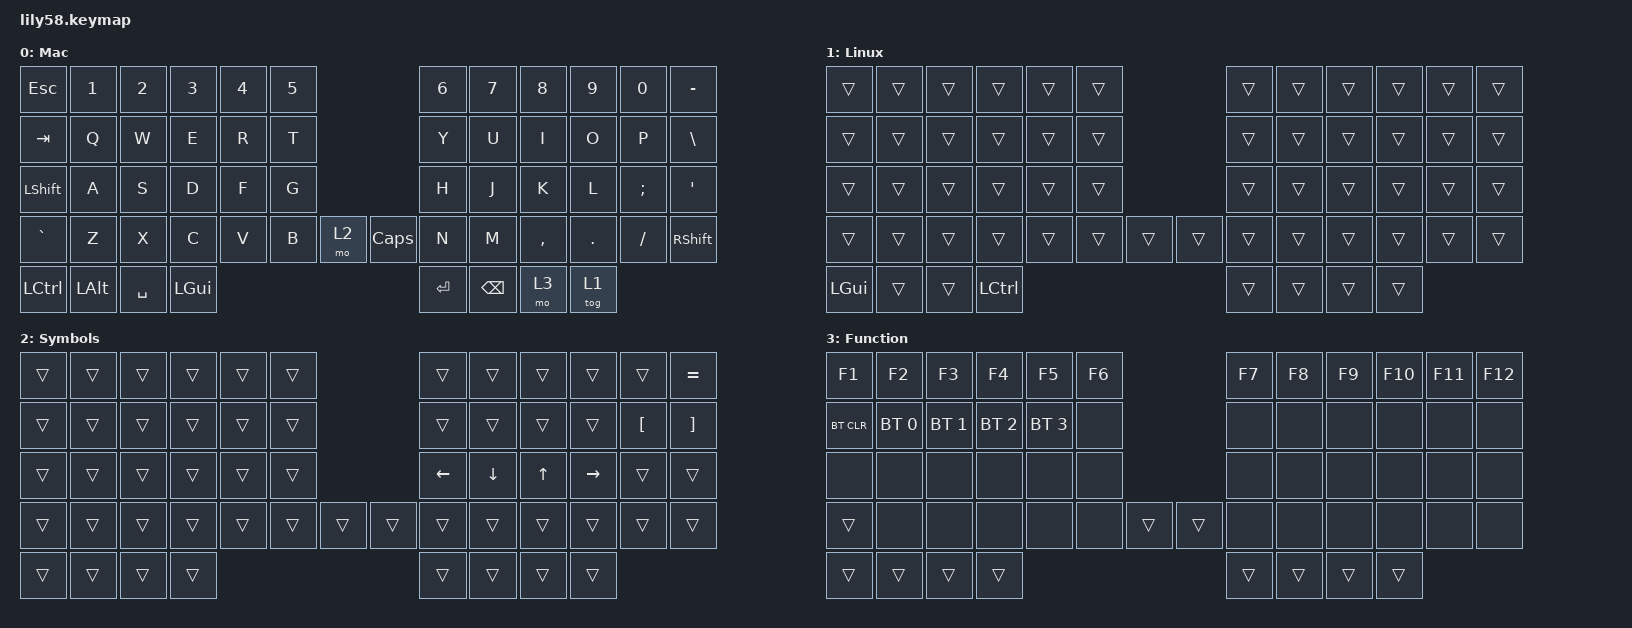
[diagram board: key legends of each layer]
/*
 * Copyright (c) 2020 The ZMK Contributors
 *
 * SPDX-License-Identifier: MIT
 */

#include <behaviors.dtsi>
#include <dt-bindings/zmk/keys.h>
#include <dt-bindings/zmk/bt.h>
#include <dt-bindings/zmk/ext_power.h>

#define BASE            0
#define OS_LINUX        1
#define SYMBOLS         2
#define FUNCTION        3

/ {
    keymap {
        compatible = "zmk,keymap";

        default_layer {
            display-name = "Mac";
            bindings = <
                &kp ESC    &kp N1  &kp N2  &kp N3  &kp N4  &kp N5                          &kp N6  &kp N7  &kp N8     &kp N9   &kp N0    &kp MINUS
                &kp TAB    &kp Q   &kp W   &kp E   &kp R   &kp T                           &kp Y   &kp U   &kp I      &kp O    &kp P     &kp BSLH
                &kp LSHFT  &kp A   &kp S   &kp D   &kp F   &kp G                           &kp H   &kp J   &kp K      &kp L    &kp SEMI  &kp SQT
                &kp GRAVE  &kp Z   &kp X   &kp C   &kp V   &kp B    &mo 2      &kp CAPS    &kp N   &kp M   &kp COMMA  &kp DOT  &kp FSLH  &kp RSHFT

                &kp LCTRL  &kp LALT  &kp SPACE  &kp LGUI                                   &kp RET  &kp BSPC  &mo 3  &tog 1
            >;
        };

        os_linux {
            display-name = "Linux";

            bindings = <
                &trans  &trans  &trans  &trans  &trans  &trans                              &trans  &trans  &trans  &trans  &trans  &trans
                &trans  &trans  &trans  &trans  &trans  &trans                              &trans  &trans  &trans  &trans  &trans  &trans
                &trans  &trans  &trans  &trans  &trans  &trans                              &trans  &trans  &trans  &trans  &trans  &trans
                &trans  &trans  &trans  &trans  &trans  &trans  &trans          &trans      &trans  &trans  &trans  &trans  &trans  &trans

                &kp LGUI  &trans  &trans  &kp LCTRL                                         &trans  &trans  &trans  &trans
            >;
        };

        symbols {
            display-name = "Symbols";

            bindings = <
                &trans  &trans  &trans  &trans  &trans  &trans                              &trans     &trans     &trans   &trans      &trans     &kp EQUAL
                &trans  &trans  &trans  &trans  &trans  &trans                              &trans     &trans     &trans   &trans      &kp LBKT   &kp RBKT
                &trans  &trans  &trans  &trans  &trans  &trans                              &kp LEFT   &kp DOWN   &kp UP   &kp RIGHT   &trans     &trans
                &trans  &trans  &trans  &trans  &trans  &trans  &trans          &trans      &trans     &trans     &trans   &trans      &trans     &trans

                &trans  &trans  &trans  &trans                                              &trans  &trans  &trans  &trans
            >;
        };

        function {
            display-name = "Function";

            bindings = <
                &kp F1      &kp F2        &kp F3        &kp F4        &kp F5                              &kp F6  &kp F7  &kp F8  &kp F9  &kp F10  &kp F11  &kp F12
                &bt BT_CLR  &bt BT_SEL 0  &bt BT_SEL 1  &bt BT_SEL 2  &bt BT_SEL 3                        &none   &none   &none   &none   &none    &none    &none
                &none       &none         &none         &none         &none         &none                 &none   &none   &none   &none   &none    &none
                &trans      &none         &none         &none         &none         &none      &trans     &trans  &none   &none   &none   &none    &none    &none

                &trans  &trans  &trans  &trans                                                            &trans  &trans  &trans  &trans
            >;
        };
    };
};
